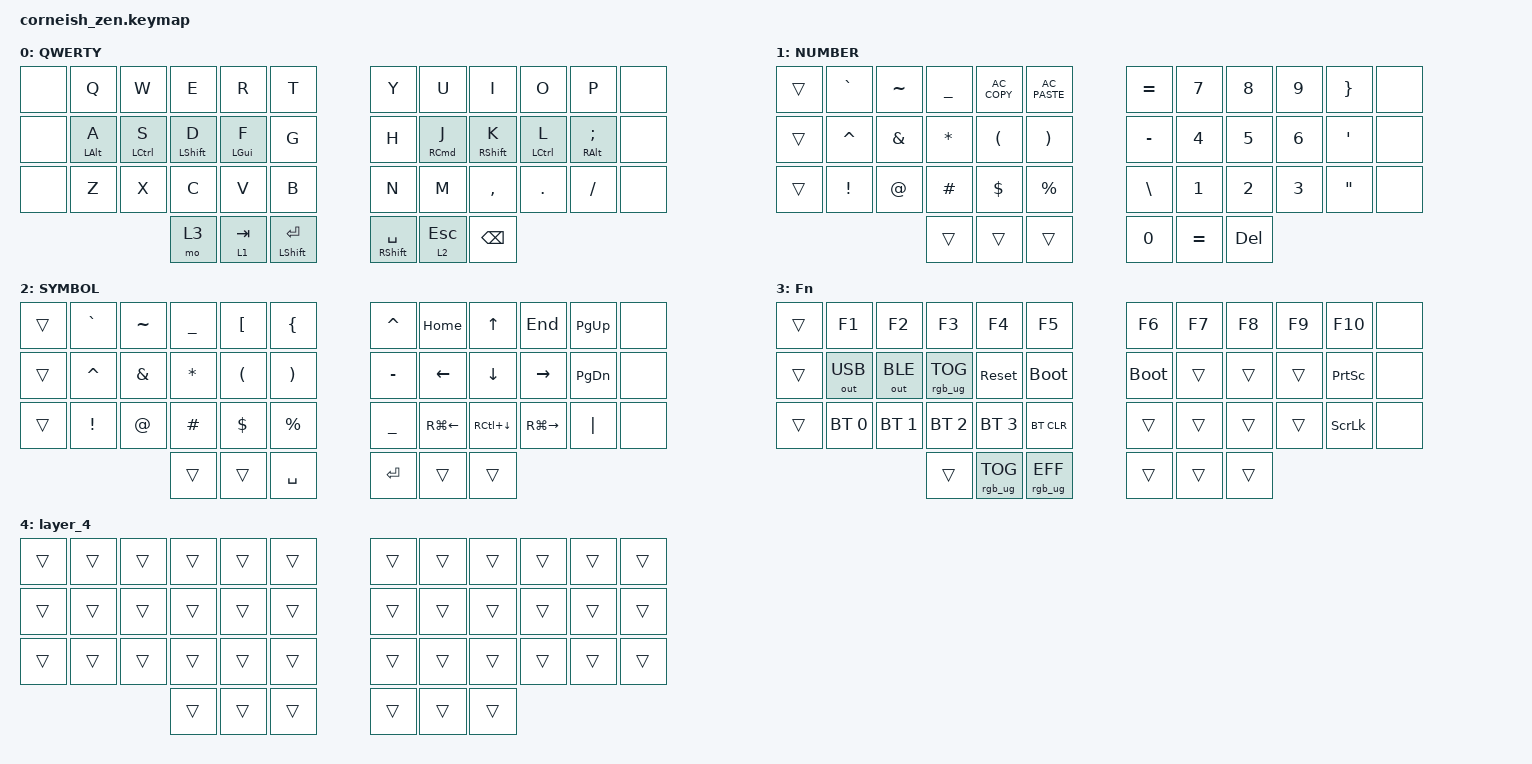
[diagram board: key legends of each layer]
/*
 * Copyright (c) 2020 The ZMK Contributors
 *
 * SPDX-License-Identifier: MIT
 */

#include <behaviors.dtsi>
#include <dt-bindings/zmk/bt.h>
#include <dt-bindings/zmk/keys.h>
#include <dt-bindings/zmk/outputs.h>
#include <dt-bindings/zmk/rgb.h>

/ {
    chosen {
        zmk,matrix_transform = &default_transform;

        // zmk,matrix_transform = &five_column_transform;
    };
};

/ {
    behaviors {
        td0: td0 {
            compatible = "zmk,behavior-tap-dance";
            label = "TD0";
            #binding-cells = <0>;
            bindings = <&kp LEFT_SHIFT>, <&kp CAPS>;
        };

        HT: HT {
            compatible = "zmk,behavior-hold-tap";
            label = "HT";
            bindings = <&kp>, <&kp>;

            #binding-cells = <2>;
            tapping-term-ms = <200>;
        };
    };

    combos {
        compatible = "zmk,combos";

        LBRKT {
            bindings = <&kp LEFT_BRACKET>;
            key-positions = <15 16>;
        };

        RBRCK {
            bindings = <&kp RIGHT_BRACKET>;
            key-positions = <19 20>;
        };

        LBR {
            bindings = <&kp LBRC>;
            key-positions = <14 15>;
        };

        RBR {
            bindings = <&kp RBRC>;
            key-positions = <20 21>;
        };
    };

    keymap {
        compatible = "zmk,keymap";

        default_layer {
            display-name = "QWERTY";

            // --------------------------------------------------------------------------------
            // |  TAB |  Q  |  W  |  E  |  R  |  T  |   |  Y  |  U   |  I  |  O  |  P  | BKSP |
            // | CTRL |  A  |  S  |  D  |  F  |  G  |   |  H  |  J   |  K  |  L  |  ;  |  '   | 
            // | SHFT |  Z  |  X  |  C  |  V  |  B  |   |  N  |  M   |  ,  |  .  |  /  | ESC  |
            //                    | GUI | LWR | SPC |   | ENT | RSE  | ALT |

            bindings = <
&none  &kp Q       &kp W        &kp E         &kp R       &kp T               &kp Y             &kp U       &kp I          &kp O        &kp P          &none
&none  &HT LALT A  &HT LCTRL S  &HT LSHIFT D  &HT LGUI F  &kp G               &kp H             &HT RCMD J  &HT RSHIFT K   &HT LCTRL L  &HT RALT SEMI  &none
&none  &kp Z       &kp X        &kp C         &kp V       &kp B               &kp N             &kp M       &kp COMMA      &kp DOT      &kp FSLH       &none
                                &mo 3      &lt 1 TAB   &HT LSHIFT ENTER    &HT RSHIFT SPACE  &lt 2 ESC   &kp BACKSPACE
            >;
        };

        lower_layer {
            display-name = "NUMBER";

            // -----------------------------------------------------------------------------------------
            // |  TAB |  1  |  2  |  3  |  4  |  5  |   |  6  |  7  |  8  |  9  |  0  | BKSP |
            // | BTCLR| BT1 | BT2 | BT3 | BT4 | BT5 |   | LFT | DWN |  UP | RGT |     |      |
            // | SHFT |     |     |     |     |     |   |     |     |     |     |     |      |
            //                    | GUI |     | SPC |   | ENT |     | ALT |

            bindings = <
&trans  &kp GRAVE  &kp TILDE  &kp UNDER  &kp C_AC_COPY  &kp C_AC_PASTE    &kp EQUAL  &kp N7     &kp N8   &kp N9  &kp RIGHT_BRACE    &none
&trans  &kp CARET  &kp AMPS   &kp ASTRK  &kp LPAR       &kp RPAR          &kp MINUS  &kp N4     &kp N5   &kp N6  &kp SQT            &none
&trans  &kp EXCL   &kp AT     &kp HASH   &kp DLLR       &kp PRCNT         &kp BSLH   &kp N1     &kp N2   &kp N3  &kp DOUBLE_QUOTES  &none
                              &trans     &trans         &trans            &kp N0     &kp EQUAL  &kp DEL
            >;
        };

        raise_layer {
            display-name = "SYMBOL";

            // -----------------------------------------------------------------------------------------
            // |  TAB |  !  |  @  |  #  |  $  |  %  |   |  ^  |  &  |  *  |  (  |  )  | BKSP |
            // | CTRL |     |     |     |     |     |   |  -  |  =  |  [  |  ]  |  \  |  `   |
            // | SHFT |     |     |     |     |     |   |  _  |  +  |  {  |  }  | "|" |  ~   |
            //                    | GUI |     | SPC |   | ENT |     | ALT |

            bindings = <
&trans  &kp GRAVE  &kp TILDE  &kp UNDER  &kp LEFT_BRACKET  &kp LEFT_BRACE    &kp CARET  &kp HOME      &kp UP        &kp END        &kp PG_UP  &none
&trans  &kp CARET  &kp AMPS   &kp ASTRK  &kp LPAR          &kp RPAR          &kp MINUS  &kp LEFT      &kp DOWN      &kp RIGHT      &kp PG_DN  &none
&trans  &kp EXCL   &kp AT     &kp HASH   &kp DLLR          &kp PRCNT         &kp UNDER  &kp RG(LEFT)  &kp RC(DOWN)  &kp RG(RIGHT)  &kp PIPE   &none
                              &trans     &trans            &kp SPACE         &kp RET    &trans        &trans
            >;
        };

        layer_3 {
            display-name = "Fn";
            bindings = <
&trans  &kp F1        &kp F2        &kp F3           &kp F4           &kp F5             &kp F6       &kp F7  &kp F8  &kp F9  &kp F10          &none
&trans  &out OUT_USB  &out OUT_BLE  &rgb_ug RGB_TOG  &sys_reset       &bootloader        &bootloader  &trans  &trans  &trans  &kp PRINTSCREEN  &none
&trans  &bt BT_SEL 0  &bt BT_SEL 1  &bt BT_SEL 2     &bt BT_SEL 3     &bt BT_CLR         &trans       &trans  &trans  &trans  &kp SCROLLLOCK   &none
                                    &trans           &rgb_ug RGB_TOG  &rgb_ug RGB_EFF    &trans       &trans  &trans
            >;
        };

        layer_4 {
            bindings = <
&trans  &trans  &trans  &trans  &trans  &trans    &trans  &trans  &trans  &trans  &trans  &trans
&trans  &trans  &trans  &trans  &trans  &trans    &trans  &trans  &trans  &trans  &trans  &trans
&trans  &trans  &trans  &trans  &trans  &trans    &trans  &trans  &trans  &trans  &trans  &trans
                        &trans  &trans  &trans    &trans  &trans  &trans
            >;
        };
    };
};
